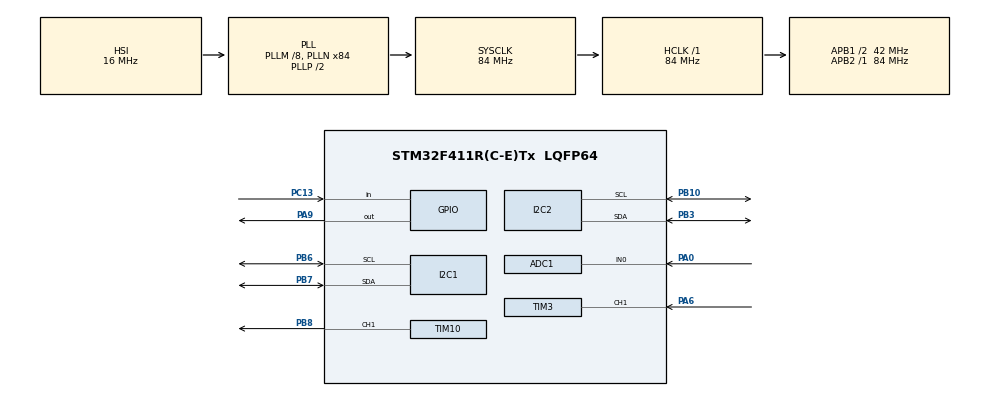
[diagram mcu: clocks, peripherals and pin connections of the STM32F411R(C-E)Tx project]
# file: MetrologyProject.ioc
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ADC1.Channel-2\#ChannelRegularConversion=ADC_CHANNEL_0
ADC1.NbrOfConversionFlag=1
ADC1.Rank-2\#ChannelRegularConversion=1
ADC1.SamplingTime-2\#ChannelRegularConversion=ADC_SAMPLETIME_3CYCLES
ADC1.master=1
Mcu.Family=STM32F4
Mcu.Name=STM32F411R(C-E)Tx
Mcu.Package=LQFP64
NVIC.PriorityGroup=NVIC_PRIORITYGROUP_4
NVIC.TIM2_IRQn=true\:15\:0\:false\:false\:true\:false\:true\:true
NVIC.TIM3_IRQn=true\:0\:0\:false\:false\:true\:true\:true\:true
NVIC.TimeBase=TIM2_IRQn
NVIC.TimeBaseIP=TIM2
PA0-WKUP.Signal=ADCx_IN0
PA13.Mode=Serial_Wire
PA13.Signal=SYS_JTMS-SWDIO
PA14.Mode=Serial_Wire
PA14.Signal=SYS_JTCK-SWCLK
PA6.Signal=S_TIM3_CH1
PA9.Signal=GPIO_Output
PB10.Mode=I2C
PB10.Signal=I2C2_SCL
PB3.Mode=I2C
PB3.Signal=I2C2_SDA
PB6.Mode=I2C
PB6.Signal=I2C1_SCL
PB7.Mode=I2C
PB7.Signal=I2C1_SDA
PB8.Signal=S_TIM10_CH1
PC13-ANTI_TAMP.GPIO_PuPd=GPIO_PULLUP
PC13-ANTI_TAMP.Signal=GPIO_Input
ProjectManager.HeapSize=0x200
ProjectManager.StackSize=0x400
ProjectManager.TargetToolchain=STM32CubeIDE
RCC.48MHZClocksFreq_Value=42000000
RCC.AHBFreq_Value=84000000
RCC.APB1CLKDivider=RCC_HCLK_DIV2
RCC.APB1Freq_Value=42000000
RCC.APB1TimFreq_Value=84000000
RCC.APB2Freq_Value=84000000
RCC.APB2TimFreq_Value=84000000
RCC.CortexFreq_Value=84000000
RCC.HCLKFreq_Value=84000000
RCC.HSE_VALUE=25000000
RCC.HSI_VALUE=16000000
RCC.LSE_VALUE=32768
RCC.PLLM=8
RCC.PLLN=84
RCC.SYSCLKFreq_VALUE=84000000
RCC.SYSCLKSource=RCC_SYSCLKSOURCE_PLLCLK
RCC.VCOOutputFreq_Value=168000000
SH.ADCx_IN0.0=ADC1_IN0,IN0
SH.S_TIM10_CH1.0=TIM10_CH1,PWM Generation1 CH1
SH.S_TIM3_CH1.0=TIM3_CH1,Input_Capture1_from_TI1
TIM10.Channel=TIM_CHANNEL_1
TIM10.Period=19999
TIM10.Prescaler=83
TIM3.Channel-Input_Capture1_from_TI1=TIM_CHANNEL_1
TIM3.Prescaler=83
VP_SYS_VS_tim2.Mode=TIM2
VP_TIM10_VS_ClockSourceINT.Mode=Enable_Timer
board=custom

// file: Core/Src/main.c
/* USER CODE BEGIN Header */
/**
  ******************************************************************************
  * @file           : main.c
  * @brief          : Main program body
  ******************************************************************************
  * @attention
  *
  * Copyright (c) 2026 STMicroelectronics.
  * All rights reserved.
  *
  * This software is licensed under terms that can be found in the LICENSE file
  * in the root directory of this software component.
  * If no LICENSE file comes with this software, it is provided AS-IS.
  *
  ******************************************************************************
  */
/* USER CODE END Header */
#include "main.h"

/* USER CODE BEGIN Includes */
#include "ssd1306.h"
#include "ssd1306_fonts.h"
#include "sr04.h"
#include "aht20.h"
#include "bmp280.h"
#include <stdio.h>
#include <stdbool.h>
/* USER CODE END Includes */

ADC_HandleTypeDef hadc1;

I2C_HandleTypeDef hi2c1;
I2C_HandleTypeDef hi2c2;

TIM_HandleTypeDef htim3;
TIM_HandleTypeDef htim10;

/* USER CODE BEGIN PV */
sr04_t sr04;
/* USER CODE END PV */

void SystemClock_Config(void);
static void MX_GPIO_Init(void);
static void MX_I2C1_Init(void);
static void MX_TIM3_Init(void);
static void MX_I2C2_Init(void);
static void MX_ADC1_Init(void);
static void MX_TIM10_Init(void);

int main(void)
{

  /* MCU Configuration--------------------------------------------------------*/

  /* Reset of all peripherals, Initializes the Flash interface and the Systick. */
  HAL_Init();

  /* Configure the system clock */
  SystemClock_Config();

  /* Initialize all configured peripherals */
  MX_GPIO_Init();
  MX_I2C1_Init();
  MX_TIM3_Init();
  MX_I2C2_Init();
  MX_ADC1_Init();
  MX_TIM10_Init();
  /* USER CODE BEGIN 2 */
  AHT20_Data aht_data = {0.0f, 0.0f};
  BMP280_HandleTypedef bmp280;
  bmp280_params_t bmp280_params;
  bmp280.i2c = &hi2c1;
  bmp280.addr = BMP280_I2C_ADDRESS_0;
  bmp280_init_default_params(&bmp280_params);
  bmp280_init(&bmp280, &bmp280_params);
  ssd1306_Init();
  uint8_t current_state_screen = 0;
  uint8_t button_last_state = 1;
  uint32_t last_activity = 0;
  uint8_t display_on = 1;
  uint8_t near_count = 0;
  sr04.trig_port = GPIOA;
  sr04.trig_pin = GPIO_PIN_9;
  sr04.echo_htim = &htim3;
  sr04.echo_channel = TIM_CHANNEL_1;
  sr04_init(&sr04);
  HAL_TIM_PWM_Start(&htim10, TIM_CHANNEL_1);
  /* USER CODE END 2 */

  /* Infinite loop */
  /* USER CODE BEGIN WHILE */
  while (1)
  {
	      // 1. Опрос кнопки
	  uint8_t button_current_state = HAL_GPIO_ReadPin(GPIOC, GPIO_PIN_13);
	  if(button_current_state == GPIO_PIN_RESET && button_last_state == 1)
	  {
	      current_state_screen += 1;
	      if(current_state_screen > 3)
	          current_state_screen = 0;
	      last_activity = HAL_GetTick();
	  }
	  button_last_state = button_current_state;

	  // Логика близости
	  if(sr04.distance < 500)
	  {
	      near_count++;
	      if(near_count > 3) near_count = 3;
	  }
	  else
	  {
	      if(near_count > 0) near_count--;
	  }
	  if(near_count >= 3)
	  {
	      last_activity = HAL_GetTick();
	  }

	  // Таймаут экрана
	  if(HAL_GetTick() - last_activity > 10000)
	  {
	      if(display_on)
	      {
	          ssd1306_SetDisplayOn(0);
	          display_on = 0;
	      }
	  }
	  else
	  {
	      if(!display_on)
	      {
	          ssd1306_SetDisplayOn(1);
	          display_on = 1;
	      }
	  }

	  char buf[32];
	  uint32_t adc_sum = 0;
	  for(int i = 0; i < 10; i++)
	  {
	      HAL_ADC_Start(&hadc1);
	      HAL_ADC_PollForConversion(&hadc1, 100);
	      adc_sum += HAL_ADC_GetValue(&hadc1);
	  }
	  uint32_t adc_value = adc_sum / 10;
	  uint32_t light_percent = (adc_value * 100) / 4095;

	  if(aht_data.humidity < 40.0f || light_percent < 30)
	  {
	      __HAL_TIM_SET_COMPARE(&htim10, TIM_CHANNEL_1, 2000);
	  }
	  else
	  {
	      __HAL_TIM_SET_COMPARE(&htim10, TIM_CHANNEL_1, 1000);
	  }
	  ssd1306_Fill(0);
	  HAL_ADC_Start(&hadc1);
	  HAL_ADC_PollForConversion(&hadc1, 100);
	  switch(current_state_screen)
	  {
		  case 0:
			  ssd1306_SetCursor(0, 0);
			  ssd1306_WriteString("Temp:", Font_11x18, 1);
			  sprintf(buf, "%.1f C", aht_data.temperature);
			  ssd1306_SetCursor(0, 20);
			  ssd1306_WriteString(buf, Font_11x18, 1);
			  break;
		  case 1:
			  ssd1306_SetCursor(0, 0);
			  ssd1306_WriteString("Hum:", Font_11x18, 1);
			  sprintf(buf, "%.1f %%", aht_data.humidity);
			  ssd1306_SetCursor(0, 20);
			  ssd1306_WriteString(buf, Font_11x18, 1);
			  break;
		  case 2:
			  ssd1306_SetCursor(0, 0);
			  ssd1306_WriteString("Illum:", Font_11x18, 1);
			  sprintf(buf, "%lu %%", light_percent);
			  ssd1306_SetCursor(0, 20);
			  ssd1306_WriteString(buf, Font_11x18, 1);
			  break;
	      case 3:
	          ssd1306_SetCursor(0, 0);
	          ssd1306_WriteString("Dist:", Font_11x18, 1);
	          sprintf(buf, "%lu mm", sr04.distance);
	          ssd1306_SetCursor(0, 20);
	          ssd1306_WriteString(buf, Font_11x18, 1);
	          break;
	  }
	  aht_data = AHT20_Read(&hi2c2);
	  sr04_trigger(&sr04);
	  ssd1306_UpdateScreen();

    /* USER CODE END WHILE */

  }
}

void SystemClock_Config(void)
{
  RCC_OscInitTypeDef RCC_OscInitStruct = {0};
  RCC_ClkInitTypeDef RCC_ClkInitStruct = {0};

  /** Configure the main internal regulator output voltage
  */
  __HAL_RCC_PWR_CLK_ENABLE();
  __HAL_PWR_VOLTAGESCALING_CONFIG(PWR_REGULATOR_VOLTAGE_SCALE1);

  /** Initializes the RCC Oscillators according to the specified parameters
  * in the RCC_OscInitTypeDef structure.
  */
  RCC_OscInitStruct.OscillatorType = RCC_OSCILLATORTYPE_HSI;
  RCC_OscInitStruct.HSIState = RCC_HSI_ON;
  RCC_OscInitStruct.HSICalibrationValue = RCC_HSICALIBRATION_DEFAULT;
  RCC_OscInitStruct.PLL.PLLState = RCC_PLL_ON;
  RCC_OscInitStruct.PLL.PLLSource = RCC_PLLSOURCE_HSI;
  RCC_OscInitStruct.PLL.PLLM = 8;
  RCC_OscInitStruct.PLL.PLLN = 84;
  RCC_OscInitStruct.PLL.PLLP = RCC_PLLP_DIV2;
  RCC_OscInitStruct.PLL.PLLQ = 4;
  if (HAL_RCC_OscConfig(&RCC_OscInitStruct) != HAL_OK)
  {
    Error_Handler();
  }

  /** Initializes the CPU, AHB and APB buses clocks
  */
  RCC_ClkInitStruct.ClockType = RCC_CLOCKTYPE_HCLK|RCC_CLOCKTYPE_SYSCLK
                              |RCC_CLOCKTYPE_PCLK1|RCC_CLOCKTYPE_PCLK2;
  RCC_ClkInitStruct.SYSCLKSource = RCC_SYSCLKSOURCE_PLLCLK;
  RCC_ClkInitStruct.AHBCLKDivider = RCC_SYSCLK_DIV1;
  RCC_ClkInitStruct.APB1CLKDivider = RCC_HCLK_DIV2;
  RCC_ClkInitStruct.APB2CLKDivider = RCC_HCLK_DIV1;

  if (HAL_RCC_ClockConfig(&RCC_ClkInitStruct, FLASH_LATENCY_2) != HAL_OK)
  {
    Error_Handler();
  }
}

static void MX_ADC1_Init(void)
{

  ADC_ChannelConfTypeDef sConfig = {0};

  /** Configure the global features of the ADC (Clock, Resolution, Data Alignment and number of conversion)
  */
  hadc1.Instance = ADC1;
  hadc1.Init.ClockPrescaler = ADC_CLOCK_SYNC_PCLK_DIV4;
  hadc1.Init.Resolution = ADC_RESOLUTION_12B;
  hadc1.Init.ScanConvMode = DISABLE;
  hadc1.Init.ContinuousConvMode = DISABLE;
  hadc1.Init.DiscontinuousConvMode = DISABLE;
  hadc1.Init.ExternalTrigConvEdge = ADC_EXTERNALTRIGCONVEDGE_NONE;
  hadc1.Init.ExternalTrigConv = ADC_SOFTWARE_START;
  hadc1.Init.DataAlign = ADC_DATAALIGN_RIGHT;
  hadc1.Init.NbrOfConversion = 1;
  hadc1.Init.DMAContinuousRequests = DISABLE;
  hadc1.Init.EOCSelection = ADC_EOC_SINGLE_CONV;
  if (HAL_ADC_Init(&hadc1) != HAL_OK)
  {
    Error_Handler();
  }

  /** Configure for the selected ADC regular channel its corresponding rank in the sequencer and its sample time.
  */
  sConfig.Channel = ADC_CHANNEL_0;
  sConfig.Rank = 1;
  sConfig.SamplingTime = ADC_SAMPLETIME_3CYCLES;
  if (HAL_ADC_ConfigChannel(&hadc1, &sConfig) != HAL_OK)
  {
    Error_Handler();
  }

}

static void MX_I2C1_Init(void)
{

  hi2c1.Instance = I2C1;
  hi2c1.Init.ClockSpeed = 100000;
  hi2c1.Init.DutyCycle = I2C_DUTYCYCLE_2;
  hi2c1.Init.OwnAddress1 = 0;
  hi2c1.Init.AddressingMode = I2C_ADDRESSINGMODE_7BIT;
  hi2c1.Init.DualAddressMode = I2C_DUALADDRESS_DISABLE;
  hi2c1.Init.OwnAddress2 = 0;
  hi2c1.Init.GeneralCallMode = I2C_GENERALCALL_DISABLE;
  hi2c1.Init.NoStretchMode = I2C_NOSTRETCH_DISABLE;
  if (HAL_I2C_Init(&hi2c1) != HAL_OK)
  {
    Error_Handler();
  }

}

static void MX_I2C2_Init(void)
{

  hi2c2.Instance = I2C2;
  hi2c2.Init.ClockSpeed = 100000;
  hi2c2.Init.DutyCycle = I2C_DUTYCYCLE_2;
  hi2c2.Init.OwnAddress1 = 0;
  hi2c2.Init.AddressingMode = I2C_ADDRESSINGMODE_7BIT;
  hi2c2.Init.DualAddressMode = I2C_DUALADDRESS_DISABLE;
  hi2c2.Init.OwnAddress2 = 0;
  hi2c2.Init.GeneralCallMode = I2C_GENERALCALL_DISABLE;
  hi2c2.Init.NoStretchMode = I2C_NOSTRETCH_DISABLE;
  if (HAL_I2C_Init(&hi2c2) != HAL_OK)
  {
    Error_Handler();
  }

}

static void MX_TIM3_Init(void)
{

  TIM_MasterConfigTypeDef sMasterConfig = {0};
  TIM_IC_InitTypeDef sConfigIC = {0};

  htim3.Instance = TIM3;
  htim3.Init.Prescaler = 83;
  htim3.Init.CounterMode = TIM_COUNTERMODE_UP;
  htim3.Init.Period = 65535;
  htim3.Init.ClockDivision = TIM_CLOCKDIVISION_DIV1;
  htim3.Init.AutoReloadPreload = TIM_AUTORELOAD_PRELOAD_DISABLE;
  if (HAL_TIM_IC_Init(&htim3) != HAL_OK)
  {
    Error_Handler();
  }
  sMasterConfig.MasterOutputTrigger = TIM_TRGO_RESET;
  sMasterConfig.MasterSlaveMode = TIM_MASTERSLAVEMODE_DISABLE;
  if (HAL_TIMEx_MasterConfigSynchronization(&htim3, &sMasterConfig) != HAL_OK)
  {
    Error_Handler();
  }
  sConfigIC.ICPolarity = TIM_INPUTCHANNELPOLARITY_RISING;
  sConfigIC.ICSelection = TIM_ICSELECTION_DIRECTTI;
  sConfigIC.ICPrescaler = TIM_ICPSC_DIV1;
  sConfigIC.ICFilter = 0;
  if (HAL_TIM_IC_ConfigChannel(&htim3, &sConfigIC, TIM_CHANNEL_1) != HAL_OK)
  {
    Error_Handler();
  }

}

static void MX_TIM10_Init(void)
{

  TIM_OC_InitTypeDef sConfigOC = {0};

  htim10.Instance = TIM10;
  htim10.Init.Prescaler = 83;
  htim10.Init.CounterMode = TIM_COUNTERMODE_UP;
  htim10.Init.Period = 19999;
  htim10.Init.ClockDivision = TIM_CLOCKDIVISION_DIV1;
  htim10.Init.AutoReloadPreload = TIM_AUTORELOAD_PRELOAD_DISABLE;
  if (HAL_TIM_Base_Init(&htim10) != HAL_OK)
  {
    Error_Handler();
  }
  if (HAL_TIM_PWM_Init(&htim10) != HAL_OK)
  {
    Error_Handler();
  }
  sConfigOC.OCMode = TIM_OCMODE_PWM1;
  sConfigOC.Pulse = 0;
  sConfigOC.OCPolarity = TIM_OCPOLARITY_HIGH;
  sConfigOC.OCFastMode = TIM_OCFAST_DISABLE;
  if (HAL_TIM_PWM_ConfigChannel(&htim10, &sConfigOC, TIM_CHANNEL_1) != HAL_OK)
  {
    Error_Handler();
  }
  HAL_TIM_MspPostInit(&htim10);

}

static void MX_GPIO_Init(void)
{
  GPIO_InitTypeDef GPIO_InitStruct = {0};

  /* GPIO Ports Clock Enable */
  __HAL_RCC_GPIOC_CLK_ENABLE();
  __HAL_RCC_GPIOA_CLK_ENABLE();
  __HAL_RCC_GPIOB_CLK_ENABLE();

  /*Configure GPIO pin Output Level */
  HAL_GPIO_WritePin(GPIOA, GPIO_PIN_9, GPIO_PIN_RESET);

  /*Configure GPIO pin : PC13 */
  GPIO_InitStruct.Pin = GPIO_PIN_13;
  GPIO_InitStruct.Mode = GPIO_MODE_INPUT;
  GPIO_InitStruct.Pull = GPIO_PULLUP;
  HAL_GPIO_Init(GPIOC, &GPIO_InitStruct);

  /*Configure GPIO pin : PA9 */
  GPIO_InitStruct.Pin = GPIO_PIN_9;
  GPIO_InitStruct.Mode = GPIO_MODE_OUTPUT_PP;
  GPIO_InitStruct.Pull = GPIO_NOPULL;
  GPIO_InitStruct.Speed = GPIO_SPEED_FREQ_LOW;
  HAL_GPIO_Init(GPIOA, &GPIO_InitStruct);

}

void HAL_TIM_PeriodElapsedCallback(TIM_HandleTypeDef *htim)
{
  if (htim->Instance == TIM2)
  {
    HAL_IncTick();
  }
}

void Error_Handler(void)
{
  __disable_irq();
  while (1)
  {
  }
}
